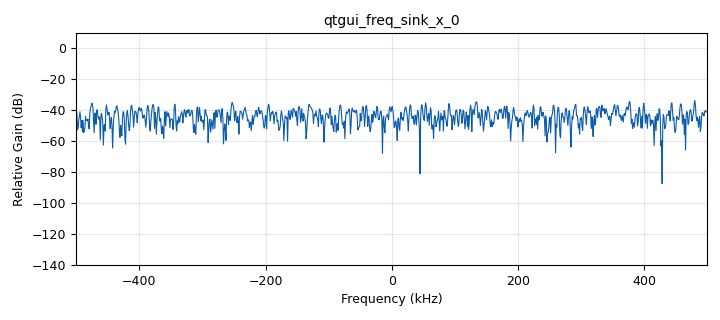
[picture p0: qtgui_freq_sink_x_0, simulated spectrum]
options:
  parameters:
    author: pinkie
    generate_options: qt_gui
    id: noise
    output_language: python
    title: Gaussian noise
  states: {}

blocks:
- name: center_freq
  id: variable_qtgui_chooser
  parameters:
    gui_hint: (4,0,1,1)
    label: Freqency
    label0: 0Hz
    label1: 915MHz
    label2: 2.4GHz
    label3: 5GHz
    label4: 910MHz
    num_opts: '5'
    option0: '0'
    option1: 915e6
    option2: 2.4e9
    option3: 5e9
    option4: 910e6
    type: real
    value: '0'
  states: {}
- name: noise_amp
  id: variable
  parameters:
    comment: noise amptitude
    value: '0.5'
  states: {}
- name: samp_rate
  id: variable
  parameters:
    value: 1e6
  states: {}
- name: tx_gain
  id: variable_qtgui_range
  parameters:
    gui_hint: (2,0,1,2)
    label: Tx Gain
    min_len: '50'
    rangeType: int
    start: '0'
    step: '1'
    stop: '200'
    value: '0'
  states: {}
- name: analog_noise_source_x_0
  id: analog_noise_source_x
  parameters:
    amp: noise_amp
    noise_type: analog.GR_GAUSSIAN
    seed: '0'
    type: complex
  states: {}
- name: qtgui_freq_sink_x_0
  id: qtgui_freq_sink_x
  parameters:
    bw: samp_rate
    fc: center_freq
    fftsize: '1024'
    type: complex
  states: {}
- name: uhd_usrp_sink_0
  id: uhd_usrp_sink
  parameters:
    ant0: '"TX/RX"'
    center_freq0: center_freq
    dev_addr: '"serial=30969D2"'
    gain0: tx_gain
    samp_rate: samp_rate
    sync: sync
    type: fc32
  states: {}

connections:
- [analog_noise_source_x_0, '0', qtgui_freq_sink_x_0, '0']
- [analog_noise_source_x_0, '0', uhd_usrp_sink_0, '0']

metadata:
  file_format: 1
  grc_version: 3.10.12.0
